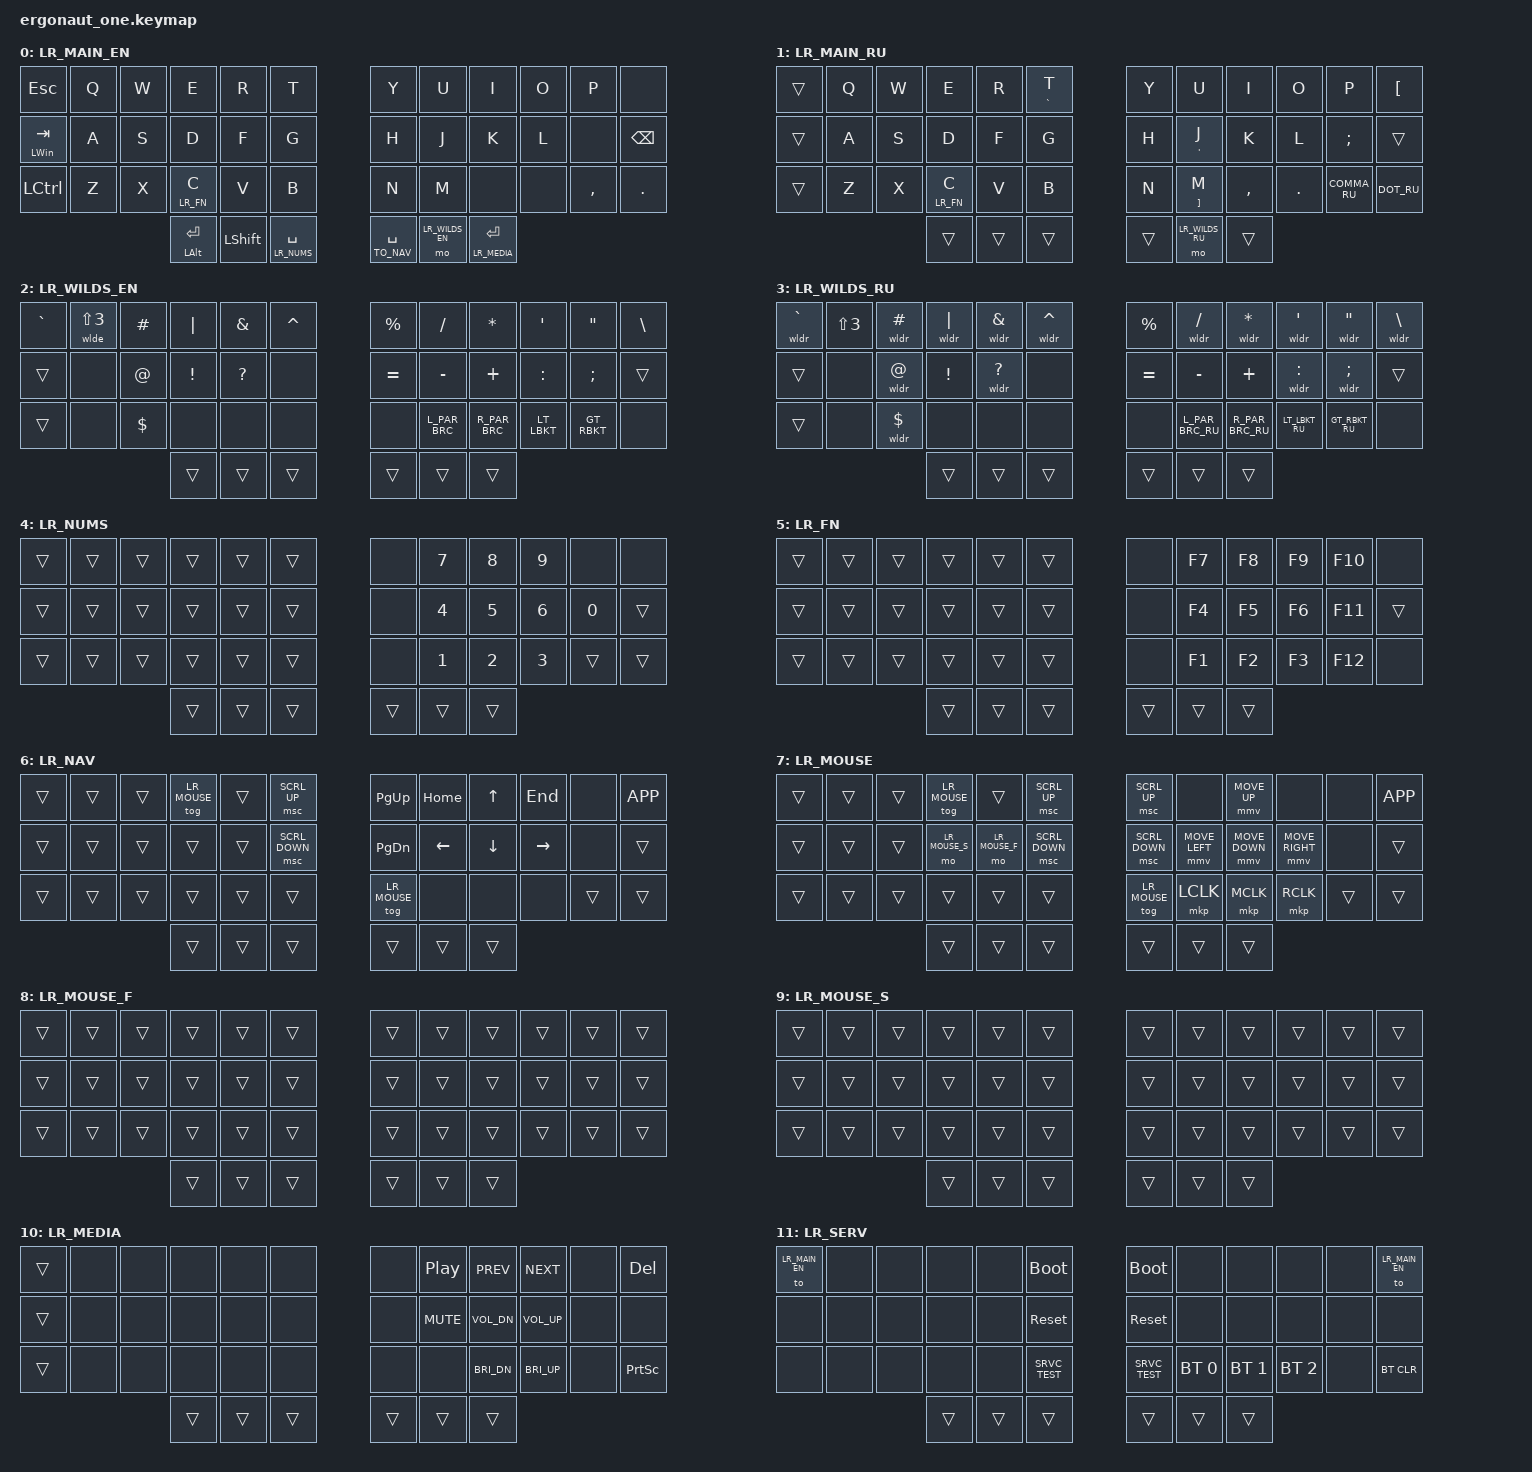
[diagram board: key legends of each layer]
#include <behaviors.dtsi>
#include <dt-bindings/zmk/keys.h>
#include <dt-bindings/zmk/bt.h>
#include <dt-bindings/zmk/pointing.h>
#include <input/processors.dtsi>

// times
#define TAP_TIME_SHORT 10 // ms
#define TAP_TIME_NORMAL 30 // ms

#define WAITING_TIME_NULL 0 // ms
#define WAITING_TIME_SHORT 5 // ms

// layers
#define LR_MAIN_EN   0
#define LR_MAIN_RU   1
#define LR_WILDS_EN  2
#define LR_WILDS_RU  3
#define LR_NUMS      4
#define LR_FN        5
#define LR_NAV       6
#define LR_MOUSE     7
#define LR_MOUSE_F   8  // fast mouse
#define LR_MOUSE_S   9  // slow mouse
#define LR_MEDIA     10
#define LR_SERV      11

// key shortcuts
#define OS_EN_LAYOUT_SCUT LA(LS(N8))
#define OS_RU_LAYOUT_SCUT LA(LS(N9))

// RU key shortcuts
#define COMMA_RU_SCUT LS(FSLH)
#define DOT_RU_KEY FSLH
#define NUMERO_RU_SCUT LS(N3)

// key indexes
#define LEFT_HAND_KEYS_INDEXES \
  0  1  2  3  4  5     \
  12 13 14 15 16 17    \
  24 25 26 27 28 29
#define LEFT_THUMB_KEYS_INDEXES \
  36 37 38 

#define RIGHT_HAND_KEYS_INDEXES \
  6  7  8  9 10 11      \
  18 19 20 21 22 23     \
  30 31 32 33 34 35
#define RIGHT_THUMB_KEYS_INDEXES \
  39 40 41
#define K_KEY_INDEX 20
#define L_KEY_INDEX 21
#define TOP_LEFT_KEY_INDEX 0
#define TOP_RIGHT_KEY_INDEX 11

// tap global params
&lt { quick_tap_ms = <100>; };
&mt { quick-tap-ms = <400>; };

// tap mods
/ {
  behaviors {
    // custom mod-tap
    cmt: cmt {
      compatible = "zmk,behavior-hold-tap";
      #binding-cells = <2>;
      flavor = "tap-preferred";
      tapping-term-ms = <200>;
      quick-tap-ms = <200>;
      bindings = <&kp>, <&kp>; // <hold fn>, <tap fn>;
    };
    // custom nav mod-tap
    navmt: navmt {
      compatible = "zmk,behavior-hold-tap";
      #binding-cells = <2>;
      flavor = "tap-preferred";
      tapping-term-ms = <200>;
      quick-tap-ms = <200>;
      bindings = <&TO_NAV>, <&kp>; // <hold fn>, <tap fn>;
    };
    // // custom nums mod-tap
    // numsmt: numsmt {
    //   compatible = "zmk,behavior-hold-tap";
    //   #binding-cells = <2>;
    //   flavor = "tap-preferred";
    //   tapping-term-ms = <200>;
    //   quick-tap-ms = <200>;
    //   bindings = <&TO_NUMS>, <&kp>; // <hold fn>, <tap fn>;
    // };
    // toggle off layer
    tog_off: tog_off {
      compatible = "zmk,behavior-toggle-layer";
      #binding-cells = <1>;
      display-name = "Toggle Layer Off";
      toggle-mode = "off";
    };
  };
};

// keys with mods
/ {
  behaviors {
    // locale switcher
    EN_RU_SWITCHER: EN_RU_SWITCHER {
      compatible = "zmk,behavior-mod-morph";
      #binding-cells = <0>;
      bindings = <&TO_LR_MAIN_EN>, <&TO_LR_MAIN_RU>;
      mods = <(MOD_LCTL)>;
    };
    // RU keys
    COMMA_RU: COMMA_RU {
      compatible = "zmk,behavior-mod-morph";
      #binding-cells = <0>;
      bindings = <&kp COMMA_RU_SCUT>, <&kp COMMA>;
      mods = <(MOD_LCTL|MOD_LALT|MOD_LGUI)>;
      keep-mods = <(MOD_LCTL|MOD_LALT|MOD_LGUI)>;
    };
    // wild keys
    DOT_RU: DOT_RU {
      compatible = "zmk,behavior-mod-morph";
      #binding-cells = <0>;
      bindings = <&kp DOT_RU_KEY>, <&kp DOT>;
      mods = <(MOD_LCTL|MOD_LALT|MOD_LGUI)>;
      keep-mods = <(MOD_LCTL|MOD_LALT|MOD_LGUI)>;
    };
    L_PAR_BRC: L_PAR_BRC {
      compatible = "zmk,behavior-mod-morph";
      #binding-cells = <0>;
      bindings = <&kp LPAR>, <&kp LBRC>;
      mods = <(MOD_LSFT)>;
    };
    R_PAR_BRC: R_PAR_BRC {
      compatible = "zmk,behavior-mod-morph";
      #binding-cells = <0>;
      bindings = <&kp RPAR>, <&kp RBRC>;
      mods = <(MOD_LSFT)>;
    };
    LT_LBKT: LT_LBKT {
      compatible = "zmk,behavior-mod-morph";
      #binding-cells = <0>;
      bindings = <&kp LT>, <&kp LBKT>;
      mods = <(MOD_LSFT)>;
    };
    GT_RBKT: GT_RBKT {
      compatible = "zmk,behavior-mod-morph";
      #binding-cells = <0>;
      bindings = <&kp GT>, <&kp RBKT>;
      mods = <(MOD_LSFT)>;
    };
  };
};

/ {
  macros {
    // layer switching macros
    TO_LR_MAIN_EN: TO_LR_MAIN_EN {
      compatible = "zmk,behavior-macro";
      #binding-cells = <0>;
      wait-ms = <WAITING_TIME_NULL>;
      tap-ms = <TAP_TIME_SHORT>;
      bindings =
        <&kp OS_EN_LAYOUT_SCUT>,
        <&to LR_MAIN_EN>;
    };
    TO_LR_MAIN_RU: TO_LR_MAIN_RU {
      compatible = "zmk,behavior-macro";
      #binding-cells = <0>;
      wait-ms = <WAITING_TIME_NULL>;
      tap-ms = <TAP_TIME_SHORT>;
      bindings =
        <&kp OS_RU_LAYOUT_SCUT>,
        <&to LR_MAIN_RU>;
    };
    TO_WILDS_RU: TO_WILDS_RU {
      compatible = "zmk,behavior-macro";
      #binding-cells = <0>;
      wait-ms = <WAITING_TIME_NULL>;
      tap-ms = <TAP_TIME_SHORT>;
      bindings =
        <&kp OS_EN_LAYOUT_SCUT>,
        <&to LR_WILDS_EN>,
        <&macro_pause_for_release>,
        <&to LR_MAIN_RU>,
        <&kp OS_RU_LAYOUT_SCUT>;
    };
    TO_NAV: TO_NAV {
      compatible = "zmk,behavior-macro";
      #binding-cells = <0>;
      wait-ms = <WAITING_TIME_NULL>;
      tap-ms = <TAP_TIME_SHORT>;
      bindings =
        <&macro_press &mo LR_NAV>,
        <&macro_pause_for_release>,
        <&tog_off LR_MOUSE>,
        <&macro_release &mo LR_NAV>;
    };
    // TO_NUMS: TO_NUMS {
    //   compatible = "zmk,behavior-macro";
    //   #binding-cells = <0>;
    //   wait-ms = <WAITING_TIME_NULL>;
    //   tap-ms = <TAP_TIME_SHORT>;
    //   bindings =
    //     <&macro_press &mo LR_NUMS>,
    //     <&macro_pause_for_release>,
    //     <&tog_off LR_FN>,
    //     <&macro_release &mo LR_NUMS>;
    // };
    // wild layer macros
    wlde: wlde { // for EN wild layer
      compatible = "zmk,behavior-macro-one-param";
      #binding-cells = <1>;
      wait-ms = <WAITING_TIME_NULL>;
      tap-ms = <TAP_TIME_SHORT>;
      bindings =
        <&kp OS_RU_LAYOUT_SCUT>,
        <&macro_param_1to1>,
        <&kp MACRO_PLACEHOLDER>,
        <&kp OS_EN_LAYOUT_SCUT>;
    };
    wldr: wldr { // for RU wild layer
      compatible = "zmk,behavior-macro-one-param";
      #binding-cells = <1>;
      wait-ms = <WAITING_TIME_NULL>;
      tap-ms = <TAP_TIME_SHORT>;
      bindings =
        <&kp OS_EN_LAYOUT_SCUT>,
        <&macro_param_1to1>,
        <&kp MACRO_PLACEHOLDER>,
        <&kp OS_RU_LAYOUT_SCUT>;
    };
    // RU wild keys
    L_PAR_BRC_RU: L_PAR_BRC_RU {
      compatible = "zmk,behavior-macro";
      #binding-cells = <0>;
      wait-ms = <WAITING_TIME_NULL>;
      tap-ms = <TAP_TIME_SHORT>;
      bindings =
        <&kp OS_EN_LAYOUT_SCUT>,
        <&L_PAR_BRC>,
        <&kp OS_RU_LAYOUT_SCUT>;
    };
    R_PAR_BRC_RU: R_PAR_BRC_RU {
      compatible = "zmk,behavior-macro";
      #binding-cells = <0>;
      wait-ms = <WAITING_TIME_NULL>;
      tap-ms = <TAP_TIME_SHORT>;
      bindings =
        <&kp OS_EN_LAYOUT_SCUT>,
        <&R_PAR_BRC>,
        <&kp OS_RU_LAYOUT_SCUT>;
    };
    LT_LBKT_RU: LT_LBKT_RU {
      compatible = "zmk,behavior-macro";
      #binding-cells = <0>;
      wait-ms = <WAITING_TIME_NULL>;
      tap-ms = <TAP_TIME_SHORT>;
      bindings =
        <&kp OS_EN_LAYOUT_SCUT>,
        <&LT_LBKT>,
        <&kp OS_RU_LAYOUT_SCUT>;
    };
    GT_RBKT_RU: GT_RBKT_RU {
      compatible = "zmk,behavior-macro";
      #binding-cells = <0>;
      wait-ms = <WAITING_TIME_NULL>;
      tap-ms = <TAP_TIME_SHORT>;
      bindings =
        <&kp OS_EN_LAYOUT_SCUT>,
        <&GT_RBKT>,
        <&kp OS_RU_LAYOUT_SCUT>;
    };
    // service layer test output
    SRVC_TEST: SRVC_TEST {
      compatible = "zmk,behavior-macro";
      #binding-cells = <0>;
      wait-ms = <WAITING_TIME_NULL>;
      tap-ms = <TAP_TIME_SHORT>;
      bindings =
          <&kp S>,<&kp E>,<&kp R>,<&kp V>,<&kp I>,<&kp C>,<&kp E>; // 'service'
    };
  };
};

/ {
  combos {
    compatible = "zmk,combos";
    // EN-RU layout switcher
    switch_lang {
      timeout-ms = <30>;
      key-positions = <K_KEY_INDEX L_KEY_INDEX>;
      layers = <LR_MAIN_EN LR_MAIN_RU>; 
      bindings = <&EN_RU_SWITCHER>;
    };
    // go to service layer on left half
    to_serv_left {
      timeout-ms = <200>;
      key-positions = <TOP_LEFT_KEY_INDEX LEFT_THUMB_KEYS_INDEXES>;
      layers = <LR_MAIN_EN LR_MAIN_RU>; 
      bindings = <&to LR_SERV>;
    };
    // go to service layer on right half
    to_serv_right {
      timeout-ms = <200>;
      key-positions = <TOP_RIGHT_KEY_INDEX RIGHT_THUMB_KEYS_INDEXES>;
      layers = <LR_MAIN_EN LR_MAIN_RU>; 
      bindings = <&to LR_SERV>;
    };
  };
};

// '&mmv', '&mmv_input_listener' got from prostas: https://github.com/proostas/colemator-layout-zmk-module/blob/main/include/colemator/mouse.dtsi
&mmv {
    acceleration-exponent = <1>;  // 1
    time-to-max-speed-ms = <300>; // 300
    delay-ms = <0>;
    trigger-period-ms = <8>;      // 16
};
&mmv_input_listener {
    fast {
        layers = <LR_MOUSE_F>;
        input-processors = <&zip_xy_scaler 2 1>;
    };
    slow {
        layers = <LR_MOUSE_S>;
        input-processors = <&zip_xy_scaler 1 3>;
    };
};

/ {
  keymap {
    compatible = "zmk,keymap";

    LR_MAIN_EN {
      bindings = <
        // row 1
        &kp ESC        &kp Q   &kp W   &kp E         &kp R   &kp T            &kp Y   &kp U   &kp I   &kp O   &kp P       &none
        // row 2
        &mt LWIN TAB   &kp A   &kp S   &kp D         &kp F   &kp G            &kp H   &kp J   &kp K   &kp L   &none       &kp BSPC
        // row 3
        &kp LCTRL      &kp Z   &kp X   &lt LR_FN C   &kp V   &kp B            &kp N   &kp M   &none   &none   &kp COMMA   &kp DOT
        // thumb row
        &mt LALT ENTER   &kp LSHFT   &lt LR_NUMS SPACE                        &navmt 0 SPACE   &mo LR_WILDS_EN   &lt LR_MEDIA ENTER
      >;
    };
    
    LR_MAIN_RU {
      bindings = <
        // row 1
        &trans   &kp Q   &kp W   &kp E         &kp R   &cmt GRAVE T            &kp Y   &kp U          &kp I       &kp O     &kp P       &kp LBKT
        // row 2
        &trans   &kp A   &kp S   &kp D         &kp F   &kp G                   &kp H   &cmt SQT J     &kp K       &kp L     &kp SEMI    &trans
        // row 3
        &trans   &kp Z   &kp X   &lt LR_FN C   &kp V   &kp B                   &kp N   &cmt RBKT M    &kp COMMA   &kp DOT   &COMMA_RU   &DOT_RU
        // thumb row
        &trans   &trans   &trans                                               &trans   &mo LR_WILDS_RU   &trans
      >;
    };

    LR_WILDS_EN {
      bindings = <
        // row 1
        &kp GRAVE   &wlde NUMERO_RU_SCUT   &kp HASH   &kp PIPE   &kp AMPS    &kp CARET            &kp PRCNT   &kp FSLH     &kp ASTRK    &kp SQT     &kp DQT    &kp BSLH
        // row 2
        &trans      &none                  &kp AT     &kp EXCL   &kp QMARK   &none                &kp EQUAL   &kp MINUS    &kp PLUS     &kp COLON   &kp SEMI   &trans
        // row 3
        &trans      &none                  &kp DLLR   &none      &none       &none                &none       &L_PAR_BRC   &R_PAR_BRC   &LT_LBKT    &GT_RBKT   &none
        // thumb row
        &trans   &trans   &trans                                                                  &trans   &trans   &trans
      >;
    };

    LR_WILDS_RU {
      bindings = <
        // row 1
        &wldr GRAVE   &kp NUMERO_RU_SCUT   &wldr HASH   &wldr PIPE   &wldr AMPS    &wldr CARET            &kp PRCNT   &wldr FSLH      &wldr ASTRK     &wldr SQT     &wldr DQT     &wldr BSLH
        // row 2
        &trans        &none                &wldr AT     &kp EXCL     &wldr QMARK   &none                  &kp EQUAL   &kp MINUS       &kp PLUS        &wldr COLON   &wldr SEMI    &trans
        // row 3
        &trans        &none                &wldr DLLR   &none        &none         &none                  &none       &L_PAR_BRC_RU   &R_PAR_BRC_RU   &LT_LBKT_RU   &GT_RBKT_RU   &none
        // thumb row
        &trans   &trans   &trans                                                                          &trans   &trans   &trans
      >;
    };

    LR_NUMS {
      bindings = <
        // row 1
        &trans   &trans   &trans    &trans   &trans   &trans            &none   &kp N7   &kp N8   &kp N9   &none    &none
        // row 2
        &trans   &trans   &trans    &trans   &trans   &trans            &none   &kp N4   &kp N5   &kp N6   &kp N0   &trans
        // row 3
        &trans   &trans   &trans    &trans   &trans   &trans            &none   &kp N1   &kp N2   &kp N3   &trans   &trans
        // thumb row
        &trans   &trans   &trans                                        &trans   &trans   &trans
      >;
    };

    LR_FN {
      bindings = <
        // row 1
        &trans   &trans   &trans    &trans   &trans   &trans            &none   &kp F7   &kp F8   &kp F9   &kp F10   &none
        // row 2
        &trans   &trans   &trans    &trans   &trans   &trans            &none   &kp F4   &kp F5   &kp F6   &kp F11   &trans
        // row 3
        &trans   &trans   &trans    &trans   &trans   &trans            &none   &kp F1   &kp F2   &kp F3   &kp F12   &none
        // thumb row
        &trans   &trans   &trans                                        &trans   &trans   &trans
      >;
    };

    LR_NAV {
      bindings = <
        // row 1
        &trans   &trans   &trans   &tog LR_MOUSE   &trans   &msc SCRL_UP              &kp PG_UP       &kp HOME   &kp UP     &kp END     &none    &kp K_APP
        // row 2
        &trans   &trans   &trans   &trans          &trans   &msc SCRL_DOWN            &kp PG_DN       &kp LEFT   &kp DOWN   &kp RIGHT   &none    &trans
        // row 3
        &trans   &trans   &trans   &trans          &trans   &trans                    &tog LR_MOUSE   &none      &none      &none       &trans   &trans
        // thumb row
        &trans   &trans   &trans                                                      &trans   &trans   &trans
      >;
    };

    LR_MOUSE {
      bindings = <
        // row 1
        &trans   &trans   &trans   &tog LR_MOUSE    &trans           &msc SCRL_UP              &msc SCRL_UP     &none            &mmv MOVE_UP     &none             &none    &kp K_APP
        // row 2
        &trans   &trans   &trans   &mo LR_MOUSE_S   &mo LR_MOUSE_F   &msc SCRL_DOWN            &msc SCRL_DOWN   &mmv MOVE_LEFT   &mmv MOVE_DOWN   &mmv MOVE_RIGHT   &none    &trans
        // row 3
        &trans   &trans   &trans   &trans           &trans           &trans                    &tog LR_MOUSE    &mkp LCLK        &mkp MCLK        &mkp RCLK         &trans   &trans
        // thumb row
        &trans   &trans   &trans                                                               &trans   &trans   &trans
      >;
    };

    LR_MOUSE_F {
      bindings = <
        // row 1
        &trans   &trans   &trans   &trans   &trans   &trans            &trans   &trans   &trans   &trans   &trans   &trans
        // row 2
        &trans   &trans   &trans   &trans   &trans   &trans            &trans   &trans   &trans   &trans   &trans   &trans
        // row 3
        &trans   &trans   &trans   &trans   &trans   &trans            &trans   &trans   &trans   &trans   &trans   &trans
        // thumb row
        &trans   &trans   &trans                                       &trans   &trans   &trans
      >;
    };

    LR_MOUSE_S {
      bindings = <
        // row 1
        &trans   &trans   &trans   &trans   &trans   &trans            &trans   &trans   &trans   &trans   &trans   &trans
        // row 2
        &trans   &trans   &trans   &trans   &trans   &trans            &trans   &trans   &trans   &trans   &trans   &trans
        // row 3
        &trans   &trans   &trans   &trans   &trans   &trans            &trans   &trans   &trans   &trans   &trans   &trans
        // thumb row
        &trans   &trans   &trans                                       &trans   &trans   &trans
      >;
    };

    

    LR_MEDIA {
      bindings = <
        // row 1
        &trans   &none   &none   &none   &none   &none            &none   &kp C_PP     &kp C_PREV     &kp C_NEXT      &none   &kp DEL
        // row 2
        &trans   &none   &none   &none   &none   &none            &none   &kp C_MUTE   &kp C_VOL_DN   &kp C_VOL_UP   &none   &none
        // row 3
        &trans   &none   &none   &none   &none   &none            &none   &none        &kp C_BRI_DN   &kp C_BRI_UP   &none   &kp PSCRN
        // thumb row
        &trans   &trans   &trans                                  &trans   &trans   &trans
      >;
    };

    LR_SERV {
      bindings = <
        // row 1
        &to LR_MAIN_EN   &none   &none   &none   &none   &bootloader            &bootloader   &none          &none          &none          &none   &to LR_MAIN_EN
        // row 2
        &none            &none   &none   &none   &none   &sys_reset             &sys_reset    &none          &none          &none          &none   &none
        // row 3
        &none            &none   &none   &none   &none   &SRVC_TEST             &SRVC_TEST    &bt BT_SEL 0   &bt BT_SEL 1   &bt BT_SEL 2   &none   &bt BT_CLR 
        // thumb row
        &trans   &trans   &trans                                                &trans   &trans   &trans
      >;
    };
  };
};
